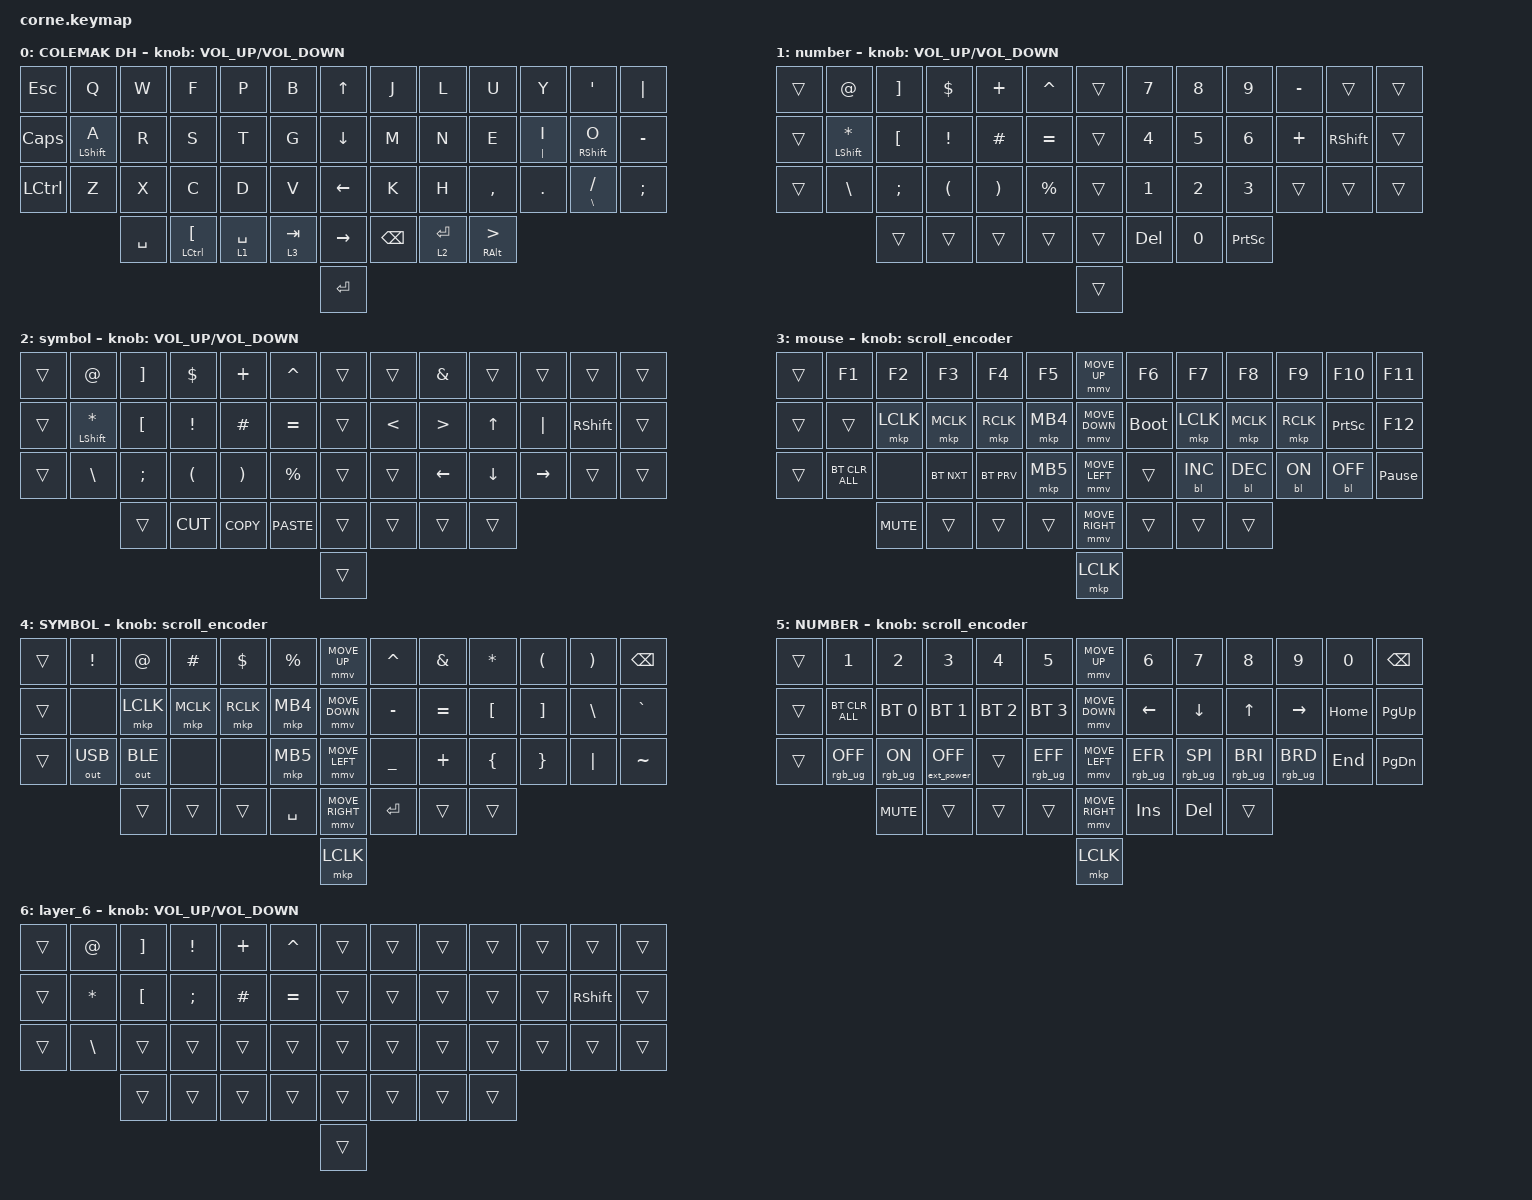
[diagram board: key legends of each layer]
#include <behaviors/mouse_keys.dtsi>
#include <behaviors.dtsi>
#include <dt-bindings/zmk/backlight.h>
#include <dt-bindings/zmk/bt.h>
#include <dt-bindings/zmk/ext_power.h>
#include <dt-bindings/zmk/keys.h>
#include <dt-bindings/zmk/mouse.h>
#include <dt-bindings/zmk/outputs.h>
#include <dt-bindings/zmk/rgb.h>

#define ZMK_MOUSE_DEFAULT_MOVE_VAL 1200  // 600
#define ZMK_MOUSE_DEFAULT_SCRL_VAL 20    // 10
#define U_MS_U &mmv MOVE_UP
#define U_MS_D &mmv MOVE_DOWN
#define U_MS_L &mmv MOVE_LEFT
#define U_MS_R &mmv MOVE_RIGHT

/ {
    behaviors {
        td0: td0 {
            compatible = "zmk,behavior-tap-dance";
            label = "TD0";
            #binding-cells = <0>;
            bindings = <&kp LEFT_SHIFT>, <&kp CAPS>;
        };

        mmv {
            acceleration-exponent = <1>;      // 1
            time-to-max-speed-ms = <900>;    // 40
            delay-ms = <0>;                   // 0
        };

        msc {
            acceleration-exponent = <1>;      // 0
            time-to-max-speed-ms = <400>;      // 500
            delay-ms = <0>;                   // 10
        };
    };

    rgb_encoder: rgb_encoder {
        compatible = "zmk,behavior-sensor-rotate";
        label = "RGB_ENCODER";
        #sensor-binding-cells = <0>;
        bindings = <&rgb_ug RGB_BRI>, <&rgb_ug RGB_BRD>;
    };

    scroll_encoder: scroll_encoder {
        compatible = "zmk,behavior-sensor-rotate";
        #sensor-binding-cells = <0>;
        bindings = <&msc SCRL_DOWN>, <&msc SCRL_UP>;

        tap-ms = <30>;
    };

    combos {
        compatible = "zmk,combos";

        bootloader {
            bindings = <&bootloader>;
            key-positions = <42 14>;
        };

        bootloaderright {
            bindings = <&bootloader>;
            key-positions = <44 24>;
        };
    };

    keymap {
        compatible = "zmk,keymap";

        default_layer {
            display-name = "COLEMAK DH";

            // --------------------------------------------------------------------------------
            // |  TAB |  Q  |  W  |  E  |  R  |  T  |                ↑    |  Y  |  U   |  I  |  O  |  P  | BKSP |      &kp UP_ARROW 
            // | SHIFT |  A  |  S  |  D  |  F  |  G  |               ↓    |  H  |  J   |  K  |  L  |  ;  |  '   | 
            // | CTRL |  Z  |  X  |  C  |  V  |  B  |                ←    |  N  |  M   |  ,  |  .  |  /  | ESC  |
            //                    | GUI | LWR | SPC |                →    | ENT | RSE  | ALT |
            //                                                      enter

            bindings = <
&kp ESCAPE  &kp Q             &kp W      &kp F                          &kp P        &kp B        &kp UP_ARROW     &kp J          &kp L        &kp U                       &kp Y       &kp SQT              &kp PIPE
&kp CAPS    &mt LEFT_SHIFT A  &kp R      &kp S                          &kp T        &kp G        &kp DOWN_ARROW   &kp M          &kp N        &kp E                       &mt PIPE I  &mt RIGHT_SHIFT O    &kp MINUS
&kp LCTRL   &kp Z             &kp X      &kp C                          &kp D        &kp V        &kp LEFT_ARROW   &kp K          &kp H        &kp COMMA                   &kp DOT     &mt BACKSLASH SLASH  &kp SEMI
                              &kp SPACE  &mt LEFT_CONTROL LEFT_BRACKET  &lt 1 SPACE  &lt 3 TAB    &kp RIGHT_ARROW  &kp BACKSPACE  &lt 2 ENTER  &mt RIGHT_ALT GREATER_THAN
                                                                                                  &kp ENTER
            >;

            label = "COLEMAK DH";
            sensor-bindings = <&inc_dec_kp C_VOL_UP C_VOLUME_DOWN>;
        };

        number {
            bindings = <
&trans  &kp AT_SIGN              &kp RIGHT_BRACKET  &kp DOLLAR            &kp PLUS               &kp CARET      &trans  &kp N7      &kp N8  &kp N9           &kp MINUS  &trans           &trans
&trans  &mt LEFT_SHIFT ASTERISK  &kp LEFT_BRACKET   &kp EXCLAMATION       &kp POUND              &kp EQUAL      &trans  &kp N4      &kp N5  &kp N6           &kp PLUS   &kp RIGHT_SHIFT  &trans
&trans  &kp BACKSLASH            &kp SEMICOLON      &kp LEFT_PARENTHESIS  &kp RIGHT_PARENTHESIS  &kp PERCENT    &trans  &kp N1      &kp N2  &kp N3           &trans     &trans           &trans
                                 &trans             &trans                &trans                 &trans         &trans  &kp DELETE  &kp N0  &kp PRINTSCREEN
                                                                                                                &trans
            >;

            sensor-bindings = <&inc_dec_kp C_VOLUME_UP C_VOLUME_DOWN>;
        };

        symbol {
            bindings = <
&trans  &kp AT_SIGN              &kp RIGHT_BRACKET  &kp DOLLAR            &kp PLUS               &kp CARET      &trans  &trans         &kp AMPERSAND     &trans        &trans     &trans           &trans
&trans  &mt LEFT_SHIFT ASTERISK  &kp LEFT_BRACKET   &kp EXCLAMATION       &kp POUND              &kp EQUAL      &trans  &kp LESS_THAN  &kp GREATER_THAN  &kp UP_ARROW  &kp PIPE   &kp RIGHT_SHIFT  &trans
&trans  &kp BACKSLASH            &kp SEMI           &kp LEFT_PARENTHESIS  &kp RIGHT_PARENTHESIS  &kp PERCENT    &trans  &trans         &kp LEFT_ARROW    &kp DOWN      &kp RIGHT  &trans           &trans
                                 &trans             &kp K_CUT             &kp K_COPY             &kp K_PASTE    &trans  &trans         &trans            &trans
                                                                                                                &trans
            >;

            sensor-bindings = <&inc_dec_kp C_VOLUME_UP C_VOLUME_DOWN>;
        };

        mouse {
            display-name = "mouse";
            bindings = <
&trans  &kp F1          &kp F2      &kp F3      &kp F4      &kp F5      &mmv MOVE_UP     &kp F6       &kp F7      &kp F8      &kp F9     &kp F10          &kp F11
&trans  &trans          &mkp LCLK   &mkp MCLK   &mkp RCLK   &mkp MB4    &mmv MOVE_DOWN   &bootloader  &mkp LCLK   &mkp MCLK   &mkp RCLK  &kp PRINTSCREEN  &kp F12
&trans  &bt BT_CLR_ALL  &none       &bt BT_NXT  &bt BT_PRV  &mkp MB5    &mmv MOVE_LEFT   &trans       &bl BL_INC  &bl BL_DEC  &bl BL_ON  &bl BL_OFF       &kp PAUSE_BREAK
                        &kp C_MUTE  &trans      &trans      &trans      &mmv MOVE_RIGHT  &trans       &trans      &trans
                                                                        &mkp LCLK
            >;

            label = "FN";
            sensor-bindings = <&scroll_encoder>;
        };

        raise_layer {
            display-name = "SYMBOL";

            // -----------------------------------------------------------------------------------------
            // |  TAB |  !  |  @  |  #  |  $  |  %  |   |  ^  |  &  |  *  |  (  |  )  | BKSP |
            // | CTRL |     |     |     |     |     |   |  -  |  =  |  [  |  ]  |  \  |  `   |
            // | SHFT |     |     |     |     |     |   |  _  |  +  |  {  |  }  | "|" |  ~   |
            //                    | GUI |     | SPC |   | ENT |     | ALT |

            bindings = <
&trans  &kp EXCL      &kp AT        &kp HASH   &kp DLLR   &kp PRCNT    &mmv MOVE_UP     &kp CARET  &kp AMPS   &kp ASTRK  &kp LPAR  &kp RPAR  &kp BSPC
&trans  &none         &mkp LCLK     &mkp MCLK  &mkp RCLK  &mkp MB4     &mmv MOVE_DOWN   &kp MINUS  &kp EQUAL  &kp LBKT   &kp RBKT  &kp BSLH  &kp GRAVE
&trans  &out OUT_USB  &out OUT_BLE  &none      &none      &mkp MB5     &mmv MOVE_LEFT   &kp UNDER  &kp PLUS   &kp LBRC   &kp RBRC  &kp PIPE  &kp TILDE
                      &trans        &trans     &trans     &kp SPACE    &mmv MOVE_RIGHT  &kp RET    &trans     &trans
                                                                       &mkp LCLK
            >;

            label = "SYMBOL";
            sensor-bindings = <&scroll_encoder>;
        };

        lower_layer {
            display-name = "NUMBER";

            // -----------------------------------------------------------------------------------------
            // |  TAB |  1  |  2  |  3  |  4  |  5  |   |  6  |  7  |  8  |  9  |  0  | BKSP |
            // | BTCLR| BT1 | BT2 | BT3 | BT4 | BT5 |   | LFT | DWN |  UP | RGT |     |      |
            // | SHFT |     |     |     |     |     |   |     |     |     |     |     |      |
            //                    | GUI |     | SPC |   | ENT |     | ALT |

            bindings = <
&trans  &kp N1           &kp N2          &kp N3             &kp N4        &kp N5             &mmv MOVE_UP     &kp N6           &kp N7           &kp N8           &kp N9           &kp N0    &kp BSPC
&trans  &bt BT_CLR_ALL   &bt BT_SEL 0    &bt BT_SEL 1       &bt BT_SEL 2  &bt BT_SEL 3       &mmv MOVE_DOWN   &kp LEFT         &kp DOWN         &kp UP           &kp RIGHT        &kp HOME  &kp PG_UP
&trans  &rgb_ug RGB_OFF  &rgb_ug RGB_ON  &ext_power EP_OFF  &trans        &rgb_ug RGB_EFF    &mmv MOVE_LEFT   &rgb_ug RGB_EFR  &rgb_ug RGB_SPI  &rgb_ug RGB_BRI  &rgb_ug RGB_BRD  &kp END   &kp PG_DN
                         &kp C_MUTE      &trans             &trans        &trans             &mmv MOVE_RIGHT  &kp INS          &kp DEL          &trans
                                                                                             &mkp LCLK
            >;

            label = "NUMBER";
            sensor-bindings = <&scroll_encoder>;
        };

        layer_6 {
            bindings = <
&trans  &kp AT_SIGN    &kp RIGHT_BRACKET  &kp EXCLAMATION  &kp PLUS   &kp CARET    &trans  &trans  &trans  &trans  &trans  &trans           &trans
&trans  &kp ASTERISK   &kp LEFT_BRACKET   &kp SEMI         &kp POUND  &kp EQUAL    &trans  &trans  &trans  &trans  &trans  &kp RIGHT_SHIFT  &trans
&trans  &kp BACKSLASH  &trans             &trans           &trans     &trans       &trans  &trans  &trans  &trans  &trans  &trans           &trans
                       &trans             &trans           &trans     &trans       &trans  &trans  &trans  &trans
                                                                                   &trans
            >;

            sensor-bindings = <&inc_dec_kp C_VOLUME_UP C_VOLUME_DOWN>;
        };
    };
};
